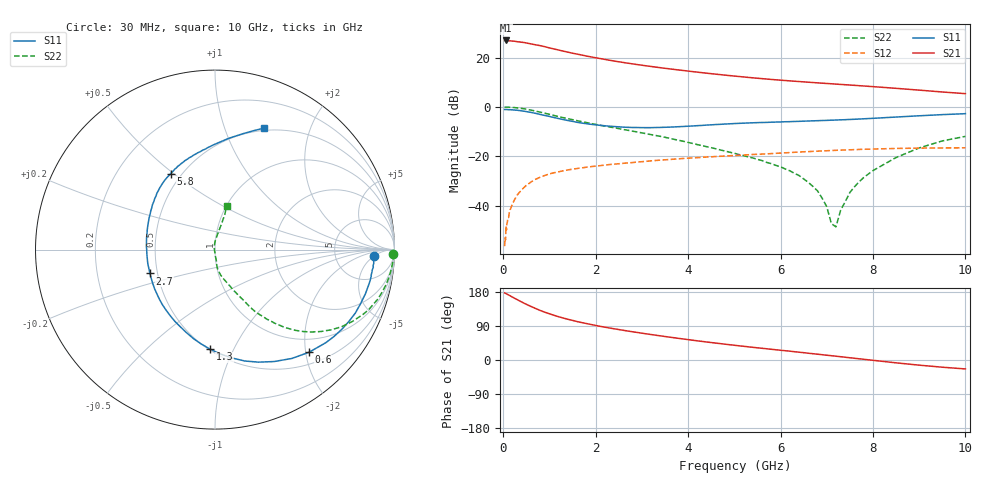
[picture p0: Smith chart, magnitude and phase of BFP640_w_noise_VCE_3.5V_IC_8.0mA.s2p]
! (c) 2013  Infineon Technologies AG, Munich
! Infineon Technologies  Discrete & RF Semiconductors
! BFP640
! VCE =  3.5 V,  IC =  8.0 mA
! Common Emitter S-Parameters:  Apr 2013
# GHz  S  MA  R  50
!  f  S11  S21  S12  S22
! GHz  MAG  ANG  MAG  ANG  MAG  ANG  MAG  ANG
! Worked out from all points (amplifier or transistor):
!   99 points, 30 MHz to 10 GHz, reference 50 ohm
!   highest |S21| = 27.0 dB at 50 MHz (marker M1)
!   |S21| within 3 dB of that: start of sweep to 995.3 MHz
!   unconditionally stable (mu >= 1): 4.118 GHz to end of sweep
!   at 350 MHz: K = 0.14, MSG = 30.5 dB, |S12| = -34.7 dB
!   at 3.5 GHz: K = 0.94, MSG = 18.6 dB, |S12| = -21.4 dB
!   at 10 GHz: K = 1.11, MAG = 8.9 dB, |S12| = -16.6 dB
!   lowest NFmin = 0.60 dB at 450 MHz
!   S11 on the Smith chart (normalised r, x): 30 MHz: 15, -5; 600 MHz: 0.72, -2.07; 1.3 GHz: 0.51, -0.81; 2.7 GHz: 0.45, -0.14; 5.8 GHz: 0.44, +0.49; 10 GHz: 0.47, +1.38
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0.03  0.8873 -2.4  22.13 177.1  0.0015 96.2  0.9911 -1.4
0.05  0.8851 -3.8  22.34 176.1  0.002 125.3  0.9912 -2.4
0.1  0.8836 -8.2  22.1 172.7  0.0057 87.1  0.9913 -4.9
0.25  0.8653 -20.4  21.53 162.6  0.0134 81.9  0.9699 -12.2
0.35  0.8463 -28.3  20.86 156.2  0.0185 75.2  0.9475 -17.0
0.45  0.8203 -36.3  20.28 149.9  0.0233 72.7  0.9186 -21.5
0.6  0.7757 -47.5  19.02 141.3  0.03 66.7  0.864 -27.6
0.8  0.7051 -62.2  17.52 130.7  0.0376 60.2  0.7855 -34.7
0.9  0.6721 -68.9  16.69 126.1  0.0408 57.5  0.7463 -37.7
1.1  0.6104 -81.3  15.01 117.9  0.0463 52.8  0.672 -42.8
1.3  0.555 -92.9  13.56 110.7  0.0508 49.3  0.6066 -46.7
1.7  0.4708 -114.4  11.3 98.7  0.0582 44.0  0.5032 -52.1
2.1  0.4239 -133.9  9.576 88.8  0.0646 40.1  0.4244 -56.4
2.7  0.3863 -159.9  7.722 76.4  0.0735 35.6  0.3361 -60.1
3.4  0.3845 173.2  6.26 63.7  0.0835 31.0  0.2532 -65.2
5.1  0.4649 130.5  4.148 37.5  0.1048 19.9  0.1083 -82.2
5.8  0.4905 120.2  3.618 28.3  0.1133 15.5  0.0708 -83.2
6.7  0.5231 108.7  3.131 16.6  0.1256 9.2  0.0245 -88.2
7.2  0.5432 101.4  2.91 10.0  0.1319 5.2  0.0037 158.4
7.6  0.5625 95.5  2.746 4.6  0.1363 1.8  0.024 98.0
8.5  0.6245 83.0  2.388 -7.5  0.144 -5.9  0.0943 79.6
10  0.7308 67.9  1.862 -23.6  0.1483 -16.4  0.2532 75.1
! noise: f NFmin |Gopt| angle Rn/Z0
0.45  0.6  0.33  11  0.07
0.9  0.61  0.32  18  0.07
1.5  0.64  0.29  30  0.07
1.9  0.67  0.23  49  0.08
2.4  0.72  0.21  58  0.08
3.5  0.84  0.17  76  0.09
5.5  1.07  0.23  -139  0.1
10  1.69  0.6  -62  0.41
